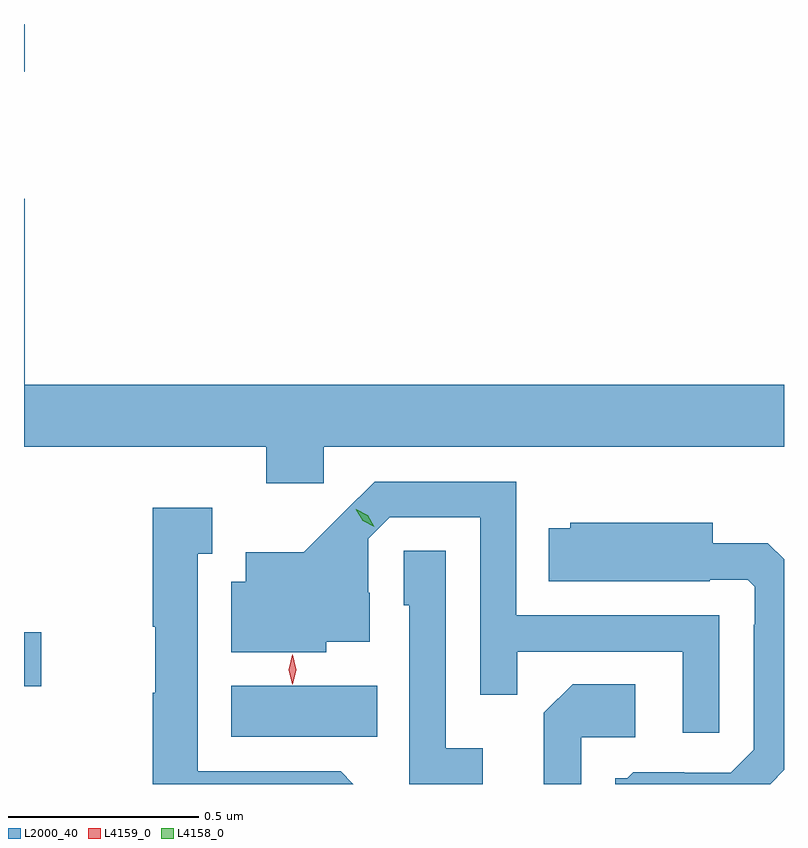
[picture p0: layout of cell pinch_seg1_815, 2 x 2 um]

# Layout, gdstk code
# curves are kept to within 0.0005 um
import gdstk
lib = gdstk.Library(unit=1e-6, precision=1e-09)
def R(c, l, rs):  # rectangles x0, y0, x1, y1
    for r in rs: c.add(gdstk.rectangle(r[:2], r[2:], *l))
def P(c, l, *ps):  # polygons
    for p in ps: c.add(gdstk.Polygon(p, *l))
L2000_40 = (2000, 40)
L4158_0 = (4158, 0)
L4159_0 = (4159, 0)

pinch_seg1_815 = lib.new_cell('pinch_seg1_815')
R(pinch_seg1_815, L2000_40, [(383.126,577.61,383.51,577.744), (382.581,577.742,382.627,577.884), (382.581,579.36,382.583,579.485)])
P(pinch_seg1_815, L2000_40, [(383.37,578.372),(384.581,578.372),(384.581,578.536),(382.583,578.536),(382.583,579.025),(382.581,579.025),(382.581,578.372),(383.219,578.372),(383.219,578.277),(383.37,578.277)],
  [(384.411,577.929),(383.877,577.929),(383.877,578.28),(383.504,578.28),(383.317,578.095),(383.165,578.095),(383.165,578.017),(383.126,578.017),(383.126,577.832),(383.376,577.832),(383.376,577.859),(383.491,577.859),(383.491,577.988),(383.487,577.988),(383.487,578.13),(383.544,578.187),(383.781,578.187),(383.781,577.72),(383.879,577.72),(383.879,577.833),(384.315,577.833),(384.315,577.62),(384.411,577.62)],
  [(383.415,577.518),(383.038,577.518),(383.038,578.091),(383.077,578.091),(383.077,578.212),(382.92,578.212),(382.92,577.899),(382.927,577.899),(382.927,577.725),(382.92,577.725),(382.92,577.485),(383.448,577.485)],
  [(384.581,577.522),(384.581,578.076),(384.538,578.119),(384.394,578.119),(384.394,578.173),(384.018,578.173),(384.018,578.158),(383.962,578.158),(383.962,578.018),(384.386,578.018),(384.386,578.022),(384.486,578.022),(384.504,578.004),(384.504,577.904),(384.501,577.904),(384.501,577.575),(384.441,577.515),(384.318,577.515),(384.318,577.516),(384.184,577.516),(384.168,577.5),(384.137,577.5),(384.137,577.485),(384.545,577.485)],
  [(383.788,577.579),(383.691,577.579),(383.691,578.099),(383.58,578.099),(383.58,577.956),(383.595,577.956),(383.595,577.485),(383.788,577.485)],
  [(384.048,577.608),(384.19,577.608),(384.19,577.748),(384.025,577.748),(383.949,577.672),(383.949,577.485),(384.048,577.485)])
P(pinch_seg1_815, L4158_0, [(383.503,578.162),(383.472,578.178),(383.454,578.208),(383.454,578.208),(383.455,578.208),(383.486,578.192),(383.503,578.162),(383.503,578.162)])
P(pinch_seg1_815, L4159_0, [(383.287,577.747),(383.278,577.786),(383.287,577.825),(383.288,577.825),(383.288,577.825),(383.298,577.786),(383.288,577.747),(383.288,577.747)])

lib.write_gds('pinch_seg1_815.gds')
